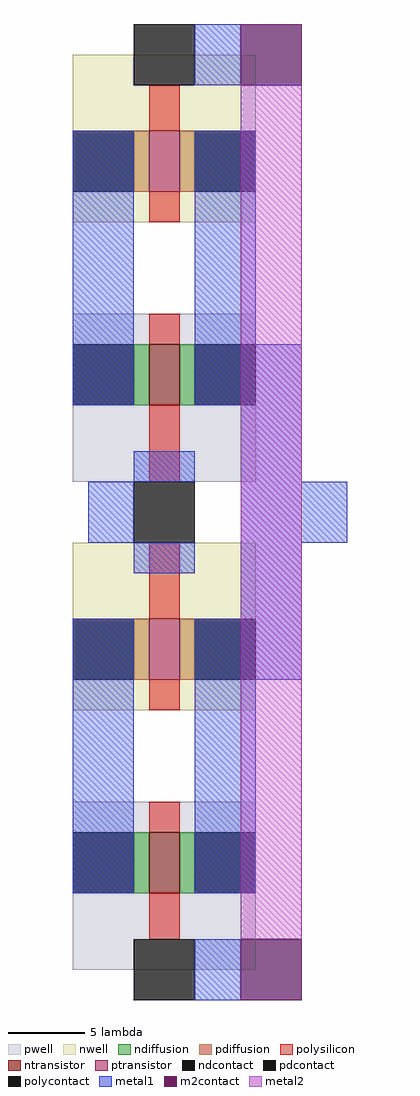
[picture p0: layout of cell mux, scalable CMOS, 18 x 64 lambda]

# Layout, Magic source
magic
tech scmos
<< polysilicon >>
rect 5 2 7 4
rect 5 -4 7 -2
<< metal1 >>
rect 8 28 11 32
rect 8 7 15 11
rect 4 2 8 4
rect 1 -2 4 2
rect 4 -4 8 -2
rect 11 2 15 7
rect 11 -2 18 2
rect 11 -7 15 -2
rect 8 -11 15 -7
rect 8 -32 11 -28
<< metal2 >>
rect 11 -28 15 28
<< polycontact >>
rect 4 28 8 32
rect 4 -2 8 2
rect 4 -32 8 -28
<< m2contact >>
rect 11 28 15 32
rect 11 -32 15 -28
use transgate  transgate_0
transform 1 0 5 0 1 39
box -5 -37 7 -9
use transgate  transgate_1
transform 1 0 5 0 1 7
box -5 -37 7 -9
<< end >>

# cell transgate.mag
magic
tech scmos
<< metal1 >>
rect -5 -32 -1 -14
rect 3 -32 7 -14
use nmos  nmos_0
transform 1 0 -2 0 -1 -50
box -3 -24 9 -13
use pmos  pmos_0
transform 1 0 -4 0 1 6
box -1 -26 11 -15
<< end >>

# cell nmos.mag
magic
tech scmos
<< pwell >>
rect -3 -24 9 -13
<< polysilicon >>
rect 2 -18 4 -15
rect 2 -24 4 -22
<< ndiffusion >>
rect 1 -22 2 -18
rect 4 -22 5 -18
<< ntransistor >>
rect 2 -22 4 -18
<< ndcontact >>
rect -3 -22 1 -18
rect 5 -22 9 -18
<< end >>

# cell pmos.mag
magic
tech scmos
<< nwell >>
rect -1 -26 11 -15
<< polysilicon >>
rect 4 -20 6 -17
rect 4 -26 6 -24
<< pdiffusion >>
rect 3 -24 4 -20
rect 6 -24 7 -20
<< ptransistor >>
rect 4 -24 6 -20
<< pdcontact >>
rect -1 -24 3 -20
rect 7 -24 11 -20
<< end >>
